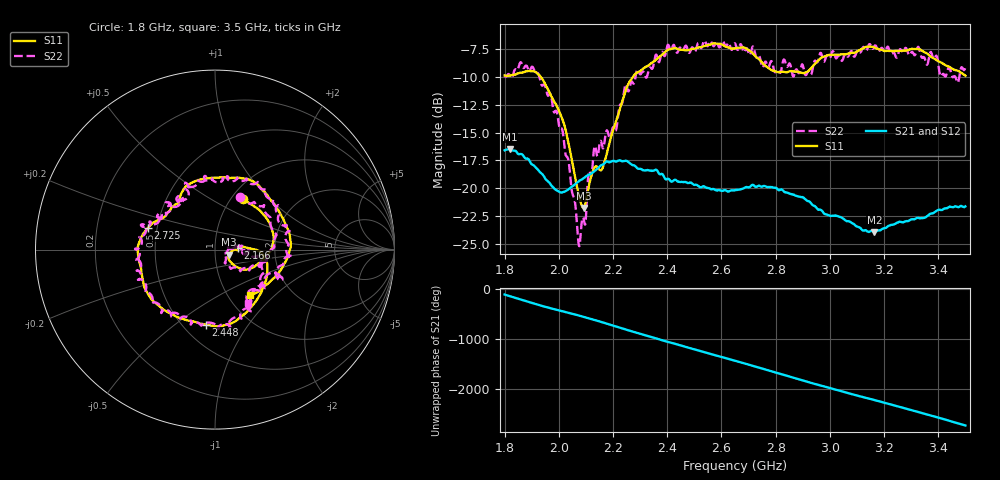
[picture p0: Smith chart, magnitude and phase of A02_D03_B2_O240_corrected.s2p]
! Created with skrf 1.9.0 (http://scikit-rf.org).
# Hz S RI R 50.0
!freq ReS11 ImS11 ReS21 ImS21 ReS12 ImS12 ReS22 ImS22
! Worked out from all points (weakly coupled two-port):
!   1601 points, 1.8 GHz to 3.5 GHz, reference 50 ohm
!   highest |S21| = -16.47 dB at 1.818 GHz (marker M1); lowest = -24.0 dB at 3.164 GHz (marker M2)
!   lowest |S11| = -21.8 dB at 2.091 GHz (marker M3), VSWR 1.18, Z = 58.2 - j3.25 ohm
!   |S11| at or under -10 dB: 1.935 GHz to 2.273 GHz (338 MHz wide, 16.1 % of centre)
!   |S22| runs from -25.2 to -6.7 dB; largest |S21 - S12| = 0.0026
!   S11 on the Smith chart (normalised r, x): 1.8 GHz: 1.13, +0.71; 2.166 GHz: 1.29, +0.03; 2.448 GHz: 0.64, -0.65; 2.725 GHz: 0.44, +0.12; 3.5 GHz: 1.26, -0.72
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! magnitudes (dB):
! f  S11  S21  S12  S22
! 1.8 GHz  -9.8  -16.6  -16.6  -9.9
! 1.818 GHz  -9.9  -16.5  -16.5  -9.8
! 1.903 GHz  -9.5  -17.9  -17.9  -9.1
! 1.968 GHz  -11.5  -19.6  -19.6  -11.5
! 2.015 GHz  -13.9  -20.4  -20.4  -14.9
! 2.072 GHz  -20.4  -19.4  -19.4  -24.8
! 2.084 GHz  -21.5  -19.2  -19.2  -23.2
! 2.091 GHz  -21.8  -19.1  -19.2  -22.7
! 2.13 GHz  -18.2  -18.5  -18.5  -16.4
! 2.166 GHz  -17.9  -17.8  -17.8  -16.3
! 2.258 GHz  -10.5  -17.7  -17.7  -11.3
! 2.367 GHz  -8.2  -18.6  -18.5  -8.6
! 2.448 GHz  -7.5  -19.4  -19.4  -7.3
! 2.65 GHz  -7.4  -20.2  -20.2  -7.0
! 2.725 GHz  -8.1  -19.9  -19.9  -8.0
! 2.806 GHz  -9.5  -20.1  -20.1  -9.3
! 2.934 GHz  -9.1  -21.5  -21.4  -9.6
! 3.164 GHz  -7.3  -24.0  -23.9  -7.2
! 3.217 GHz  -7.6  -23.4  -23.4  -7.4
! 3.376 GHz  -8.2  -22.3  -22.3  -7.9
! 3.468 GHz  -9.4  -21.7  -21.7  -10.3
! 3.5 GHz  -9.9  -21.6  -21.6  -9.1
